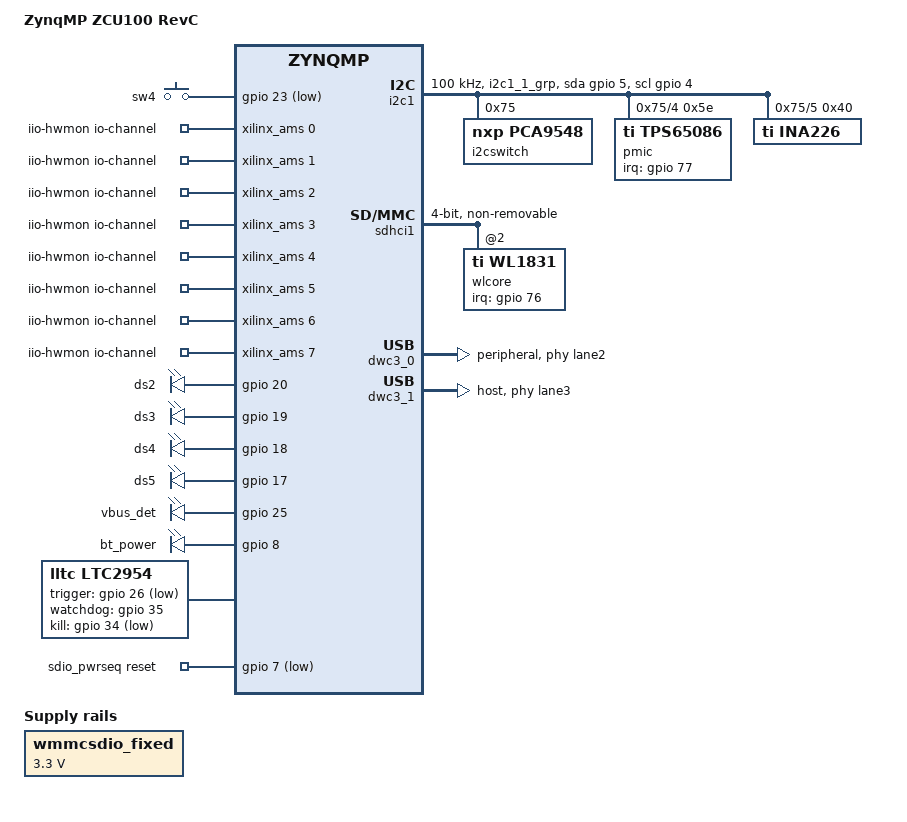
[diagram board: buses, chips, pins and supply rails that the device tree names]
/*
 * dts file for Xilinx ZynqMP ZCU100 revC
 *
 * (C) Copyright 2016, Xilinx, Inc.
 *
 * Michal Simek <michal.simek@xilinx.com>
 * Nathalie Chan King Choy <nathalie@xilinx.com>
 *
 * This program is free software; you can redistribute it and/or
 * modify it under the terms of the GNU General Public License as
 * published by the Free Software Foundation; either version 2 of
 * the License, or (at your option) any later version.
 */

/ {
	model = "ZynqMP ZCU100 RevC";
	compatible = "xlnx,zynqmp-zcu100-revC", "xlnx,zynqmp-zcu100", "xlnx,zynqmp";

	gpio-keys {
		compatible = "gpio-keys";
		#address-cells = <1>;
		#size-cells = <0>;
		autorepeat;
		sw4 {
			label = "sw4";
			gpios = <&gpio 23 1>;
			linux,code = <108>; /* down */
			gpio-key,wakeup; /* FIXME test this */
			autorepeat;
		};
	};

	iio-hwmon {
		compatible = "iio-hwmon";
		io-channels = <&xilinx_ams 0>, <&xilinx_ams 1>, <&xilinx_ams 2>,
			      <&xilinx_ams 3>, <&xilinx_ams 4>, <&xilinx_ams 5>,
			      <&xilinx_ams 6>, <&xilinx_ams 7>, <&xilinx_ams 8>,
			      <&xilinx_ams 9>, <&xilinx_ams 10>,
			      <&xilinx_ams 11>, <&xilinx_ams 12>;
	};

	leds {
		compatible = "gpio-leds";
		ds2 {
			label = "ds2";
			gpios = <&gpio 20 0>; /* uboot: gpio toggle 20 */
			linux,default-trigger = "heartbeat";
		};

		ds3 {
			label = "ds3";
			gpios = <&gpio 19 0>;
			linux,default-trigger = "phy0tx"; /* WLAN tx */
			default-state = "off";
		};

		ds4 {
			label = "ds4";
			gpios = <&gpio 18 0>;
			linux,default-trigger = "phy0rx"; /* WLAN rx */
			default-state = "off";
		};

		ds5 {
			label = "ds5";
			gpios = <&gpio 17 0>;
			linux,default-trigger = "bluetooth-power";
		};

		/* FIXME this is not correct - used fixed-regulator for it */
		vbus_det { /* U5 USB5744  VBUS detection via MIO25 */
			label = "vbus_det";
			gpios = <&gpio 25 0>;
			default-state = "on";
		};

		bt_power {
			label = "bt_power";
			gpios = <&gpio 8 0>;
			default-state = "on";
		};
	};

	ltc2954: ltc2954 { /* U7 */
		/*
		 * FIXME this is ltc2954 not ltc2952 - try this driver and
		 * maybe just extend compatible string.
		 */
		compatible = "lltc,ltc2954", "lltc,ltc2952";
		trigger-gpios = <&gpio 26 1>; /* INT line - input */
		/* If there is HW watchdog on mezzanine this signal should be connected there */
		watchdog-gpios = <&gpio 35 0>; /* MIO on PAD */
		kill-gpios = <&gpio 34 1>; /* KILL signal - output */
	};

	wmmcsdio_fixed: fixedregulator-mmcsdio {
		compatible = "regulator-fixed";
		regulator-name = "wmmcsdio_fixed";
		regulator-min-microvolt = <3300000>;
		regulator-max-microvolt = <3300000>;
		regulator-always-on;
		regulator-boot-on;
	};

	sdio_pwrseq: sdio_pwrseq {
		compatible = "mmc-pwrseq-simple";
		reset-gpios = <&gpio 7 1>; /* WIFI_EN */
	};
};

&pmufw {
	pinctrl-names = "default";
	pinctrl-0 = <&pinctrl_pmu_default>;
};

&i2c1 {
	pinctrl-names = "default", "gpio";
	pinctrl-0 = <&pinctrl_i2c1_default>;
	pinctrl-1 = <&pinctrl_i2c1_gpio>;
	scl-gpios = <&gpio 4 0>;
	sda-gpios = <&gpio 5 0>;
	clock-frequency = <100000>;
	i2cswitch@75 { /* u11 */
		compatible = "nxp,pca9548";
		#address-cells = <1>;
		#size-cells = <0>;
		reg = <0x75>;
		i2csw_0: i2c@0 { /* i2c mw 75 0 1 */
			#address-cells = <1>;
			#size-cells = <0>;
			reg = <0>;
			/*
			 * LSEXP_I2C0
			 */
		};
		i2csw_1: i2c@1 { /* i2c mw 75 0 2 */
			#address-cells = <1>;
			#size-cells = <0>;
			reg = <1>;
			/*
			 * LSEXP_I2C1
			 */
		};
		i2csw_2: i2c@2 { /* i2c mw 75 0 4 */
			#address-cells = <1>;
			#size-cells = <0>;
			reg = <2>;
			/*
			 * HSEXP_I2C2
			 */
		};
		i2csw_3: i2c@3 { /* i2c mw 75 0 8 */
			#address-cells = <1>;
			#size-cells = <0>;
			reg = <3>;
			/*
			 * HSEXP_I2C3
			 */
		};
		i2csw_4: i2c@4 { /* i2c mw 75 0 10 */
			#address-cells = <1>;
			#size-cells = <0>;
			reg = <0x4>;

			/* Comment it out because will be pre-programmed
			   at the factory */

			pmic: tps65086x@5e { // Custom TI PMIC u33
				compatible = "ti,tps65086";
				reg = <0x5e>;
				interrupt-parent = <&gpio>;
				interrupts = <77 1>;
				#gpio-cells = <2>;
				gpio-controller;

/*
				sys-supply = <&some_reg>;
				// spec 12V

				buck1 5V0
				buck2 PSINTLP (no idea)
				buck3 VCC_PSDDR 1V1
				buck4 3V3
				buck5 1V2
				buck6 VCC_PSAUX 1V8

				vin-sm0-supply = <&some_reg>;
				vin-sm1-supply = <&some_reg>;
				vin-sm2-supply = <&some_reg>;
				vinldo01-supply = <...>;
				vinldo23-supply = <...>;
				vinldo4-supply = <...>;
				vinldo678-supply = <...>;
				vinldo9-supply = <...>;

				regulators {
					sys_reg: sys {
					        regulator-name = "vdd_sys";
					        regulator-boot-on;
					        regulator-always-on;
					};

					sm0_reg: sm0 {
					        regulator-min-microvolt = < 725000>;
					        regulator-max-microvolt = <1500000>;
					        regulator-boot-on;
					        regulator-always-on;
					};

					sm1_reg: sm1 {
					        regulator-min-microvolt = < 725000>;
					        regulator-max-microvolt = <1500000>;
					        regulator-boot-on;
					        regulator-always-on;
					};

					sm2_reg: sm2 {
					        regulator-min-microvolt = <3000000>;
					        regulator-max-microvolt = <4550000>;
					        regulator-boot-on;
					        regulator-always-on;
					};

					ldo0_reg: ldo0 {
					        regulator-name = "PCIE CLK";
					        regulator-min-microvolt = <3300000>;
					        regulator-max-microvolt = <3300000>;
					};

					ldo1_reg: ldo1 {
					        regulator-min-microvolt = < 725000>;
					        regulator-max-microvolt = <1500000>;
					};

					ldo2_reg: ldo2 {
					        regulator-min-microvolt = < 725000>;
					        regulator-max-microvolt = <1500000>;
					};

					ldo3_reg: ldo3 {
					        regulator-min-microvolt = <1250000>;
					        regulator-max-microvolt = <3300000>;
					};

					ldo4_reg: ldo4 {
					        regulator-min-microvolt = <1700000>;
					        regulator-max-microvolt = <2475000>;
					};

					ldo5_reg: ldo5 {
					        regulator-min-microvolt = <1250000>;
					        regulator-max-microvolt = <3300000>;
					};

					ldo6_reg: ldo6 {
					        regulator-min-microvolt = <1250000>;
					        regulator-max-microvolt = <3300000>;
					};

					ldo7_reg: ldo7 {
					        regulator-min-microvolt = <1250000>;
					        regulator-max-microvolt = <3300000>;
					};

					ldo8_reg: ldo8 {
					        regulator-min-microvolt = <1250000>;
					        regulator-max-microvolt = <3300000>;
					};

					ldo9_reg: ldo9 {
					        regulator-min-microvolt = <1250000>;
					        regulator-max-microvolt = <3300000>;
					};

				// FIXME look at this one
					ldo_rtc {
						regulator-name = "vdd_rtc_out,vdd_cell";
						regulator-min-microvolt = <3300000>;
						regulator-max-microvolt = <3300000>;
						regulator-always-on;
					};
				};
				*/
			};
		};
		i2csw_5: i2c@5 { /* i2c mw 75 0 20 */
			#address-cells = <1>;
			#size-cells = <0>;
			reg = <5>;
			/* PS_PMBUS */
			ina226@40 { /* u35 */
				compatible = "ti,ina226";
				reg = <0x40>;
				shunt-resistor = <10000>;
				/* MIO31 is alert which should be routed to PMUFW */
			};
		};
		i2csw_6: i2c@6 { /* i2c mw 75 0 40 */
			#address-cells = <1>;
			#size-cells = <0>;
			reg = <6>;
			/*
			 * Not Connected
			 */
		};
		i2csw_7: i2c@7 { /* i2c mw 75 0 80 */
			#address-cells = <1>;
			#size-cells = <0>;
			reg = <7>;
			/*
			 * usb5744 (DNP) - U5
			 * 100kHz - this is default freq for us
			 */
		};
	};
};

&pinctrl0 {
	status = "okay";
	pinctrl_i2c1_default: i2c1-default {
		mux {
			groups = "i2c1_1_grp";
			function = "i2c1";
		};

		conf {
			groups = "i2c1_1_grp";
			bias-pull-up;
			slew-rate = <1>;
			io-standard = <1>;
		};
	};

	pinctrl_i2c1_gpio: i2c1-gpio {
		mux {
			groups = "gpio0_4_grp", "gpio0_5_grp";
			function = "gpio0";
		};

		conf {
			groups = "gpio0_4_grp", "gpio0_5_grp";
			slew-rate = <1>;
			io-standard = <1>;
		};
	};

	pinctrl_pmu_default: pmu-default {
		mux {
			groups = "pmu0_8_grp";
			function = "pmu0";
		};

		conf {
			groups = "pmu0_8_grp";
			bias-pull-up;
			slew-rate = <1>;
			io-standard = <1>;
		};
	};
};

/* SD0 only supports 3.3V, no level shifter */
&sdhci0 {
	broken-cd; /* CD has to be enabled by default */
	disable-wp;
};

&sdhci1 {
	bus-width = <0x4>;
	non-removable;
	disable-wp;
	cap-power-off-card;
	mmc-pwrseq = <&sdio_pwrseq>;
	max-frequency = <16000000>;
	vqmmc-supply = <&wmmcsdio_fixed>;
	#address-cells = <1>;
	#size-cells = <0>;
	wlcore: wlcore@2 {
		compatible = "ti,wl1831";
		reg = <2>;
		interrupt-parent = <&gpio>;
		interrupts = <76 1>; /* MIO76 WLAN_IRQ 1V8 */
	};
};

&dwc3_0 {
	dr_mode = "peripheral";
	phy-names = "usb3-phy";
	phys = <&lane2 4 0 0 26000000>;
	maximum-speed = "super-speed";
};

&dwc3_1 {
	dr_mode = "host";
	phy-names = "usb3-phy";
	phys = <&lane3 4 1 0 26000000>;
	maximum-speed = "super-speed";
};
